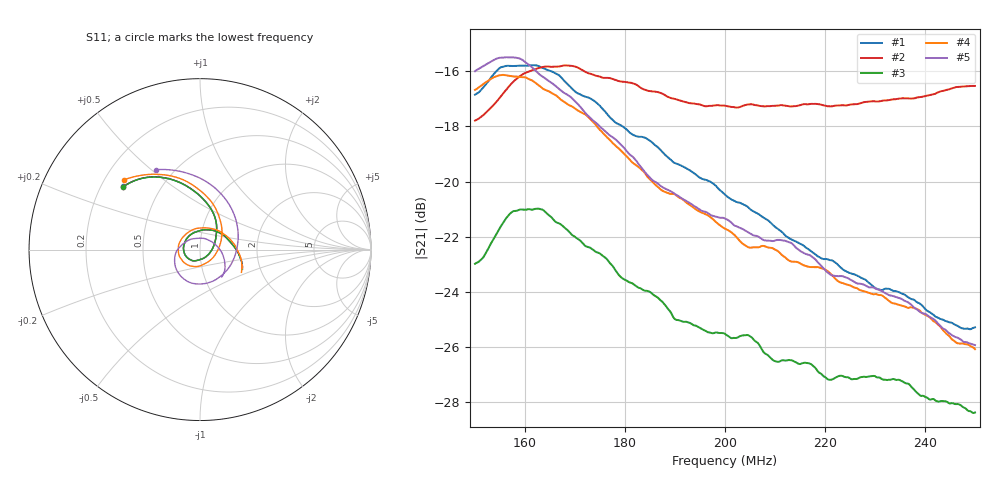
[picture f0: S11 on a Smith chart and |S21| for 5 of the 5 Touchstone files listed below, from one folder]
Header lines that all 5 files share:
# Hz S MA R 50
! Planar, Obzor-304, 08125003, 3.51/02
! ×àñòîòà  S11: Mag/Ang (F2)  S21: Mag/Ang (F2)  S12: Mag/Ang (F2)  S22: Mag/Ang (F2)
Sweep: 150 MHz to 250 MHz
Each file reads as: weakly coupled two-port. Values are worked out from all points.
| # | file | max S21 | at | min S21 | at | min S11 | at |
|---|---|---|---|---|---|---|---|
| 1 | s67.s2p | -15.78 dB | 161.5 MHz | -25.4 dB | 249 MHz | -25.4 dB | 178.8 MHz |
| 2 | s68.s2p | -15.79 dB | 168 MHz | -17.8 dB | 150 MHz | -25.3 dB | 178.8 MHz |
| 3 | s69.s2p | -20.98 dB | 162.5 MHz | -28.4 dB | 249.8 MHz | -25.3 dB | 178.8 MHz |
| 4 | s78.s2p | -16.14 dB | 155.5 MHz | -26.1 dB | 250 MHz | -21.3 dB | 177 MHz |
| 5 | s89.s2p | -15.50 dB | 156.2 MHz | -25.9 dB | 250 MHz | -23.5 dB | 217 MHz |
